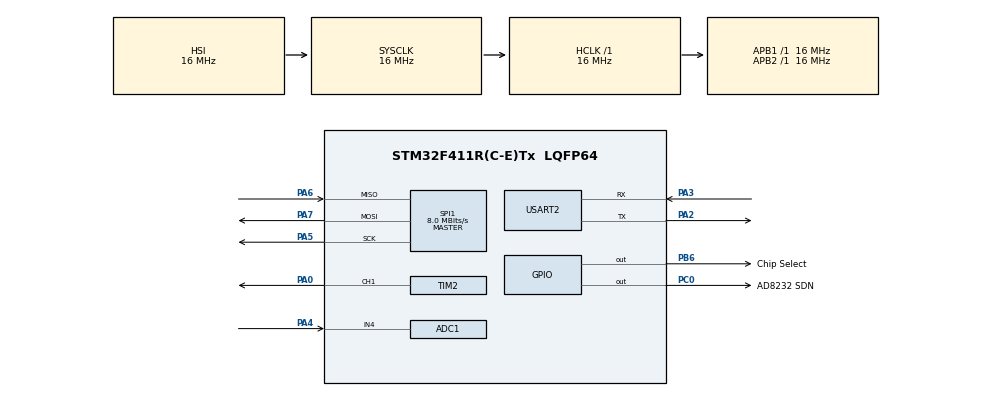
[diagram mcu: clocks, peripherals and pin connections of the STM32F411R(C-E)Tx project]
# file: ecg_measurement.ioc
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ADC1.Channel-0\#ChannelRegularConversion=ADC_CHANNEL_4
ADC1.ExternalTrigConv=ADC_EXTERNALTRIGCONV_T3_TRGO
ADC1.NbrOfConversionFlag=1
ADC1.Rank-0\#ChannelRegularConversion=1
ADC1.SamplingTime-0\#ChannelRegularConversion=ADC_SAMPLETIME_480CYCLES
ADC1.master=1
FATFS._MAX_SS=4096
FATFS._USE_LFN=1
Mcu.Family=STM32F4
Mcu.Name=STM32F411R(C-E)Tx
Mcu.Package=LQFP64
NVIC.ADC_IRQn=true\:0\:0\:false\:false\:true\:true\:true\:true
NVIC.PriorityGroup=NVIC_PRIORITYGROUP_4
NVIC.USART2_IRQn=true\:0\:0\:false\:false\:true\:true\:true\:true
PA0-WKUP.Signal=S_TIM2_CH1_ETR
PA2.Mode=Asynchronous
PA2.Signal=USART2_TX
PA3.Mode=Asynchronous
PA3.Signal=USART2_RX
PA4.Signal=ADCx_IN4
PA5.Mode=Full_Duplex_Master
PA5.Signal=SPI1_SCK
PA6.Mode=Full_Duplex_Master
PA6.Signal=SPI1_MISO
PA7.Mode=Full_Duplex_Master
PA7.Signal=SPI1_MOSI
PB6.GPIO_Label=Chip Select
PB6.GPIO_Speed=GPIO_SPEED_FREQ_HIGH
PB6.Signal=GPIO_Output
PC0.GPIO_Label=AD8232 SDN
PC0.GPIO_Speed=GPIO_SPEED_FREQ_HIGH
PC0.Signal=GPIO_Output
ProjectManager.HeapSize=0x200
ProjectManager.StackSize=0x400
ProjectManager.TargetToolchain=STM32CubeIDE
RCC.AHBFreq_Value=16000000
RCC.APB1Freq_Value=16000000
RCC.APB2Freq_Value=16000000
RCC.CortexFreq_Value=16000000
RCC.HSE_VALUE=25000000
RCC.HSI_VALUE=16000000
RCC.LSE_VALUE=32768
RCC.SYSCLKFreq_VALUE=16000000
RCC.VCOOutputFreq_Value=192000000
SH.ADCx_IN4.0=ADC1_IN4,IN4
SH.S_TIM2_CH1_ETR.0=TIM2_CH1,PWM Generation1 CH1
SPI1.CalculateBaudRate=8.0 MBits/s
SPI1.Direction=SPI_DIRECTION_2LINES
SPI1.Mode=SPI_MODE_MASTER
SPI1.VirtualType=VM_MASTER
TIM2.AutoReloadPreload=TIM_AUTORELOAD_PRELOAD_ENABLE
TIM2.Channel-PWM\ Generation1\ CH1=TIM_CHANNEL_1
TIM2.Period=49999
TIM2.Prescaler=31
TIM3.AutoReloadPreload=TIM_AUTORELOAD_PRELOAD_ENABLE
TIM3.Period=31999
TIM3.TIM_MasterOutputTrigger=TIM_TRGO_UPDATE
USART2.VirtualMode=VM_ASYNC
VP_FATFS_VS_Generic.Mode=User_defined
VP_TIM3_VS_ClockSourceINT.Mode=Internal
board=custom

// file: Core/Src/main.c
/* USER CODE BEGIN Header */
/**
  ******************************************************************************
  * @file           : main.c
  * @brief          : Main program body
  ******************************************************************************
  * @attention
  *
  * Copyright (c) 2024 STMicroelectronics.
  * All rights reserved.
  *
  * This software is licensed under terms that can be found in the LICENSE file
  * in the root directory of this software component.
  * If no LICENSE file comes with this software, it is provided AS-IS.
  *
  ******************************************************************************
  */
/* USER CODE END Header */
#include "main.h"
#include "fatfs.h"

/* USER CODE BEGIN Includes */
#include <stdio.h>
#include <string.h>
#include <stdbool.h>
/* USER CODE END Includes */

ADC_HandleTypeDef hadc1;

SPI_HandleTypeDef hspi1;

TIM_HandleTypeDef htim2;
TIM_HandleTypeDef htim3;

UART_HandleTypeDef huart2;

/* USER CODE BEGIN PV */
#define WINDOW_SIZE 10U
#define START_MEASUREMENT_CODE '1'
#define STOP_MEASUREMENT_CODE '2'
#define MIN_FREE_SPACE 200U	// kilobytes
#define FILENAME_SIZE 24U
#define MAX_MEASURED_DATA_COUNT 30000U

uint16_t adc_data = 0U;
uint16_t measured_data_count = 0U;
uint16_t moving_average_buffer[WINDOW_SIZE] = {0U};

char uart_transmit_buffer[7U];
char uart_receive_buffer[1U] = "";

bool is_measurement_in_progress = false;
bool is_measure_ready = false;
bool is_serial_code_received = false;
bool is_sd_card_mounted = false;
bool is_sd_card_file_opened = false;

FATFS fatfs;
FIL file;
FRESULT fresult;
FATFS *pfs;
DWORD free_cluster;
uint32_t free_space = 0U;
uint8_t filename_index = 0U;
uint8_t filename[FILENAME_SIZE];
/* USER CODE END PV */

void SystemClock_Config(void);
static void MX_GPIO_Init(void);
static void MX_ADC1_Init(void);
static void MX_TIM3_Init(void);
static void MX_USART2_UART_Init(void);
static void MX_TIM2_Init(void);
static void MX_SPI1_Init(void);
/* USER CODE BEGIN PFP */
void start_measurement(void);
void stop_measurement(void);
void set_pins_to_start_measurement(void);
void set_pins_to_stop_measurement(void);
bool initialize_sd_card(void);
void create_unique_measurement_file(void);
uint16_t get_moving_average_with_new_value(uint16_t buffer[], uint16_t new_adc_data);
/* USER CODE END PFP */

/* USER CODE BEGIN 0 */
void start_measurement(void)
{
	set_pins_to_start_measurement();
	if (initialize_sd_card())
		create_unique_measurement_file();
	measured_data_count = 0U;
	is_measure_ready = false;
	is_measurement_in_progress = true;
}

void stop_measurement(void)
{
	is_measurement_in_progress = false;
	set_pins_to_stop_measurement();
	if (is_sd_card_file_opened)
		f_close(&file);
	if (is_sd_card_mounted)
		f_mount(NULL, "", 0U);
	is_sd_card_mounted = false;
	is_sd_card_file_opened = false;
}

void set_pins_to_start_measurement(void)
{
	HAL_GPIO_WritePin(GPIOC, GPIO_PIN_0, GPIO_PIN_SET);
}

void set_pins_to_stop_measurement(void)
{
	HAL_GPIO_WritePin(GPIOC, GPIO_PIN_0, GPIO_PIN_RESET);
}

bool initialize_sd_card(void)
{
	fresult = f_mount(&fatfs, "", 1U);
	if (fresult != FR_OK)
		return false;

	f_getfree("", &free_cluster, &pfs);
	free_space = (uint32_t)(free_cluster * pfs->csize * 0.5f);
	if (free_space < MIN_FREE_SPACE)
		return false;

	return is_sd_card_mounted = true;
}

void create_unique_measurement_file(void)
{
	filename_index = 0U;

	do
	{
		snprintf(filename, FILENAME_SIZE, "ecg_measurement_%d.txt", ++filename_index);
		fresult = f_open(&file, filename, FA_WRITE | FA_CREATE_NEW);
	}
	while (fresult != FR_OK && filename_index != UINT8_MAX);

	is_sd_card_file_opened = (fresult == FR_OK);
}

uint16_t get_moving_average_with_new_value(uint16_t buffer[], uint16_t new_adc_data)
{
	uint16_t sum = 0U;
	for (uint8_t i = 0U; i < WINDOW_SIZE - 1U; ++i) {
		buffer[i] = buffer[i+1U];
		sum += buffer[i];
	}
	buffer[WINDOW_SIZE-1U] = new_adc_data;
	sum += new_adc_data;

	return (uint16_t)(sum / (float)WINDOW_SIZE);
}
/* USER CODE END 0 */

int main(void)
{

  /* MCU Configuration--------------------------------------------------------*/

  /* Reset of all peripherals, Initializes the Flash interface and the Systick. */
  HAL_Init();

  /* Configure the system clock */
  SystemClock_Config();

  /* Initialize all configured peripherals */
  MX_GPIO_Init();
  MX_ADC1_Init();
  MX_TIM3_Init();
  MX_USART2_UART_Init();
  MX_TIM2_Init();
  MX_FATFS_Init();
  MX_SPI1_Init();
  /* USER CODE BEGIN 2 */
  HAL_TIM_Base_Start(&htim3);
  HAL_ADC_Start_IT(&hadc1);
  TIM2->CCR1 = 30000U;
  HAL_TIM_PWM_Start(&htim2, TIM_CHANNEL_1);
  HAL_UART_Receive_IT(&huart2, (uint8_t*)uart_receive_buffer, 1U);
  /* USER CODE END 2 */

  /* Infinite loop */
  while (1)
  {

    /* USER CODE BEGIN 3 */
	if (is_measure_ready)
	{
		if (++measured_data_count > MAX_MEASURED_DATA_COUNT)
		{
			stop_measurement();
			continue;
		}

		sprintf(uart_transmit_buffer, "%d\n", get_moving_average_with_new_value((uint16_t*)moving_average_buffer, adc_data));
		HAL_UART_Transmit(&huart2, (uint8_t*)uart_transmit_buffer, strlen(uart_transmit_buffer), 10U);
		if (is_sd_card_file_opened)
		    f_puts(uart_transmit_buffer, &file);
		is_measure_ready = false;
	}

	if (is_serial_code_received)
	{
		switch (uart_receive_buffer[0])
		{
			case START_MEASUREMENT_CODE:
				start_measurement();
				break;

			case STOP_MEASUREMENT_CODE:
				stop_measurement();
				break;
		}

		is_serial_code_received = false;
	}
  }
  /* USER CODE END 3 */
}

void SystemClock_Config(void)
{
  RCC_OscInitTypeDef RCC_OscInitStruct = {0};
  RCC_ClkInitTypeDef RCC_ClkInitStruct = {0};

  /** Configure the main internal regulator output voltage
  */
  __HAL_RCC_PWR_CLK_ENABLE();
  __HAL_PWR_VOLTAGESCALING_CONFIG(PWR_REGULATOR_VOLTAGE_SCALE1);

  /** Initializes the RCC Oscillators according to the specified parameters
  * in the RCC_OscInitTypeDef structure.
  */
  RCC_OscInitStruct.OscillatorType = RCC_OSCILLATORTYPE_HSI;
  RCC_OscInitStruct.HSIState = RCC_HSI_ON;
  RCC_OscInitStruct.HSICalibrationValue = RCC_HSICALIBRATION_DEFAULT;
  RCC_OscInitStruct.PLL.PLLState = RCC_PLL_NONE;
  if (HAL_RCC_OscConfig(&RCC_OscInitStruct) != HAL_OK)
  {
    Error_Handler();
  }

  /** Initializes the CPU, AHB and APB buses clocks
  */
  RCC_ClkInitStruct.ClockType = RCC_CLOCKTYPE_HCLK|RCC_CLOCKTYPE_SYSCLK
                              |RCC_CLOCKTYPE_PCLK1|RCC_CLOCKTYPE_PCLK2;
  RCC_ClkInitStruct.SYSCLKSource = RCC_SYSCLKSOURCE_HSI;
  RCC_ClkInitStruct.AHBCLKDivider = RCC_SYSCLK_DIV1;
  RCC_ClkInitStruct.APB1CLKDivider = RCC_HCLK_DIV1;
  RCC_ClkInitStruct.APB2CLKDivider = RCC_HCLK_DIV1;

  if (HAL_RCC_ClockConfig(&RCC_ClkInitStruct, FLASH_LATENCY_0) != HAL_OK)
  {
    Error_Handler();
  }
}

static void MX_ADC1_Init(void)
{

  ADC_ChannelConfTypeDef sConfig = {0};

  /** Configure the global features of the ADC (Clock, Resolution, Data Alignment and number of conversion)
  */
  hadc1.Instance = ADC1;
  hadc1.Init.ClockPrescaler = ADC_CLOCK_SYNC_PCLK_DIV2;
  hadc1.Init.Resolution = ADC_RESOLUTION_12B;
  hadc1.Init.ScanConvMode = DISABLE;
  hadc1.Init.ContinuousConvMode = DISABLE;
  hadc1.Init.DiscontinuousConvMode = DISABLE;
  hadc1.Init.ExternalTrigConvEdge = ADC_EXTERNALTRIGCONVEDGE_RISING;
  hadc1.Init.ExternalTrigConv = ADC_EXTERNALTRIGCONV_T3_TRGO;
  hadc1.Init.DataAlign = ADC_DATAALIGN_RIGHT;
  hadc1.Init.NbrOfConversion = 1;
  hadc1.Init.DMAContinuousRequests = DISABLE;
  hadc1.Init.EOCSelection = ADC_EOC_SINGLE_CONV;
  if (HAL_ADC_Init(&hadc1) != HAL_OK)
  {
    Error_Handler();
  }

  /** Configure for the selected ADC regular channel its corresponding rank in the sequencer and its sample time.
  */
  sConfig.Channel = ADC_CHANNEL_4;
  sConfig.Rank = 1;
  sConfig.SamplingTime = ADC_SAMPLETIME_480CYCLES;
  if (HAL_ADC_ConfigChannel(&hadc1, &sConfig) != HAL_OK)
  {
    Error_Handler();
  }

}

static void MX_SPI1_Init(void)
{

  /* SPI1 parameter configuration*/
  hspi1.Instance = SPI1;
  hspi1.Init.Mode = SPI_MODE_MASTER;
  hspi1.Init.Direction = SPI_DIRECTION_2LINES;
  hspi1.Init.DataSize = SPI_DATASIZE_8BIT;
  hspi1.Init.CLKPolarity = SPI_POLARITY_LOW;
  hspi1.Init.CLKPhase = SPI_PHASE_1EDGE;
  hspi1.Init.NSS = SPI_NSS_SOFT;
  hspi1.Init.BaudRatePrescaler = SPI_BAUDRATEPRESCALER_2;
  hspi1.Init.FirstBit = SPI_FIRSTBIT_MSB;
  hspi1.Init.TIMode = SPI_TIMODE_DISABLE;
  hspi1.Init.CRCCalculation = SPI_CRCCALCULATION_DISABLE;
  hspi1.Init.CRCPolynomial = 10;
  if (HAL_SPI_Init(&hspi1) != HAL_OK)
  {
    Error_Handler();
  }

}

static void MX_TIM2_Init(void)
{

  TIM_MasterConfigTypeDef sMasterConfig = {0};
  TIM_OC_InitTypeDef sConfigOC = {0};

  htim2.Instance = TIM2;
  htim2.Init.Prescaler = 31;
  htim2.Init.CounterMode = TIM_COUNTERMODE_UP;
  htim2.Init.Period = 49999;
  htim2.Init.ClockDivision = TIM_CLOCKDIVISION_DIV1;
  htim2.Init.AutoReloadPreload = TIM_AUTORELOAD_PRELOAD_ENABLE;
  if (HAL_TIM_PWM_Init(&htim2) != HAL_OK)
  {
    Error_Handler();
  }
  sMasterConfig.MasterOutputTrigger = TIM_TRGO_RESET;
  sMasterConfig.MasterSlaveMode = TIM_MASTERSLAVEMODE_DISABLE;
  if (HAL_TIMEx_MasterConfigSynchronization(&htim2, &sMasterConfig) != HAL_OK)
  {
    Error_Handler();
  }
  sConfigOC.OCMode = TIM_OCMODE_PWM1;
  sConfigOC.Pulse = 0;
  sConfigOC.OCPolarity = TIM_OCPOLARITY_HIGH;
  sConfigOC.OCFastMode = TIM_OCFAST_DISABLE;
  if (HAL_TIM_PWM_ConfigChannel(&htim2, &sConfigOC, TIM_CHANNEL_1) != HAL_OK)
  {
    Error_Handler();
  }
  HAL_TIM_MspPostInit(&htim2);

}

static void MX_TIM3_Init(void)
{

  TIM_ClockConfigTypeDef sClockSourceConfig = {0};
  TIM_MasterConfigTypeDef sMasterConfig = {0};

  htim3.Instance = TIM3;
  htim3.Init.Prescaler = 0;
  htim3.Init.CounterMode = TIM_COUNTERMODE_UP;
  htim3.Init.Period = 31999;
  htim3.Init.ClockDivision = TIM_CLOCKDIVISION_DIV1;
  htim3.Init.AutoReloadPreload = TIM_AUTORELOAD_PRELOAD_ENABLE;
  if (HAL_TIM_Base_Init(&htim3) != HAL_OK)
  {
    Error_Handler();
  }
  sClockSourceConfig.ClockSource = TIM_CLOCKSOURCE_INTERNAL;
  if (HAL_TIM_ConfigClockSource(&htim3, &sClockSourceConfig) != HAL_OK)
  {
    Error_Handler();
  }
  sMasterConfig.MasterOutputTrigger = TIM_TRGO_UPDATE;
  sMasterConfig.MasterSlaveMode = TIM_MASTERSLAVEMODE_DISABLE;
  if (HAL_TIMEx_MasterConfigSynchronization(&htim3, &sMasterConfig) != HAL_OK)
  {
    Error_Handler();
  }

}

static void MX_USART2_UART_Init(void)
{

  huart2.Instance = USART2;
  huart2.Init.BaudRate = 115200;
  huart2.Init.WordLength = UART_WORDLENGTH_8B;
  huart2.Init.StopBits = UART_STOPBITS_1;
  huart2.Init.Parity = UART_PARITY_NONE;
  huart2.Init.Mode = UART_MODE_TX_RX;
  huart2.Init.HwFlowCtl = UART_HWCONTROL_NONE;
  huart2.Init.OverSampling = UART_OVERSAMPLING_16;
  if (HAL_UART_Init(&huart2) != HAL_OK)
  {
    Error_Handler();
  }

}

static void MX_GPIO_Init(void)
{
  GPIO_InitTypeDef GPIO_InitStruct = {0};

  /* GPIO Ports Clock Enable */
  __HAL_RCC_GPIOC_CLK_ENABLE();
  __HAL_RCC_GPIOA_CLK_ENABLE();
  __HAL_RCC_GPIOB_CLK_ENABLE();

  /*Configure GPIO pin Output Level */
  HAL_GPIO_WritePin(AD8232_SDN_GPIO_Port, AD8232_SDN_Pin, GPIO_PIN_RESET);

  /*Configure GPIO pin Output Level */
  HAL_GPIO_WritePin(Chip_Select_GPIO_Port, Chip_Select_Pin, GPIO_PIN_RESET);

  /*Configure GPIO pin : AD8232_SDN_Pin */
  GPIO_InitStruct.Pin = AD8232_SDN_Pin;
  GPIO_InitStruct.Mode = GPIO_MODE_OUTPUT_PP;
  GPIO_InitStruct.Pull = GPIO_NOPULL;
  GPIO_InitStruct.Speed = GPIO_SPEED_FREQ_HIGH;
  HAL_GPIO_Init(AD8232_SDN_GPIO_Port, &GPIO_InitStruct);

  /*Configure GPIO pin : Chip_Select_Pin */
  GPIO_InitStruct.Pin = Chip_Select_Pin;
  GPIO_InitStruct.Mode = GPIO_MODE_OUTPUT_PP;
  GPIO_InitStruct.Pull = GPIO_NOPULL;
  GPIO_InitStruct.Speed = GPIO_SPEED_FREQ_HIGH;
  HAL_GPIO_Init(Chip_Select_GPIO_Port, &GPIO_InitStruct);

}

/* USER CODE BEGIN 4 */
void HAL_ADC_ConvCpltCallback(ADC_HandleTypeDef* hadc)
{
	if (is_measurement_in_progress)
	{
		adc_data = HAL_ADC_GetValue(&hadc1);
		is_measure_ready = true;
	}
}

void HAL_UART_RxCpltCallback(UART_HandleTypeDef *huart)
{
	HAL_UART_Receive_IT(&huart2, (uint8_t*)uart_receive_buffer, 1U);
	is_serial_code_received = true;
}
/* USER CODE END 4 */

void Error_Handler(void)
{
  __disable_irq();
  while (1)
  {
  }
}
